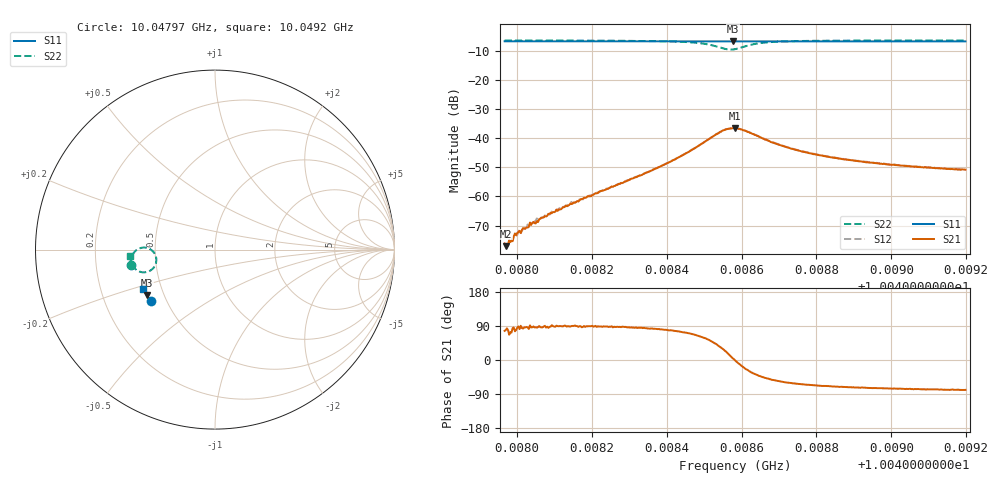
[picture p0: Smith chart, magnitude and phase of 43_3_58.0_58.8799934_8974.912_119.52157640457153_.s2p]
#  HZ  S  RI  R  50.00
! Rohde & Schwarz Vector Network Analyzer
! Rohde-Schwarz,ZNB20-2Port,1311601062101988,3.16
! Created: UTC 3/21/2024, 12:52:11 AM
! freq[Hz]  re:S11  im:S11  re:S21  im:S21  re:S12  im:S12  re:S22  im:S22
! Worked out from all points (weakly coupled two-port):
!   401 points, 10.04797 GHz to 10.0492 GHz, reference 50 ohm
!   highest |S21| = -36.54 dB at 10.04858 GHz (marker M1); lowest = -77.0 dB at 10.04797 GHz (marker M2)
!   lowest |S11| = -6.8 dB at 10.04858 GHz (marker M3), VSWR 2.68, Z = 20.1 - j12.8 ohm
!   |S11| at or under -10 dB: nowhere
!   |S22| runs from -9.6 to -6.5 dB; largest |S21 - S12| = 0.0012
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1.0047967e10  -0.3593 -0.2864  3.54e-05 0.000152  2.3e-05 0.000148  -0.466 -0.0885
1.004797e10  -0.3595 -0.2862  2.69e-05 0.000139  2.24e-05 0.000147  -0.4661 -0.0882
1.0047982e10  -0.36 -0.2855  4.73e-05 0.000158  2.6e-05 0.000164  -0.4663 -0.0869
1.0048001e10  -0.3607 -0.2845  2.02e-05 0.000236  2.02e-05 0.000218  -0.4663 -0.0852
1.0048032e10  -0.362 -0.2829  4.14e-05 0.000298  1.73e-05 0.000317  -0.4666 -0.0825
1.0048041e10  -0.3624 -0.2824  2.21e-05 0.000347  1.44e-05 0.000329  -0.4667 -0.0816
1.0048053e10  -0.3629 -0.2819  3.08e-05 0.000376  -2.12e-05 0.000419  -0.4668 -0.0804
1.004809e10  -0.3643 -0.2798  1.61e-05 0.000523  -5.68e-05 0.000503  -0.4671 -0.0767
1.0048173e10  -0.3676 -0.2753  5.72e-05 0.0009  -4.29e-05 0.000898  -0.4673 -0.0677
1.0048379e10  -0.3754 -0.2637  0.00045 0.00315  0.00029 0.0032  -0.4609 -0.0331
1.0048438e10  -0.3773 -0.2602  0.00132 0.00472  0.00106 0.00482  -0.4506 -0.0152
1.0048524e10  -0.38 -0.2549  0.00735 0.00786  0.00685 0.00825  -0.388 0.011
1.0048555e10  -0.3804 -0.2532  0.0125 0.00582  0.0123 0.0066  -0.3416 -0.0145
1.0048576e10  -0.3807 -0.2526  0.0148 0.00116  0.0147 0.00223  -0.3266 -0.059
1.0048583e10  -0.381 -0.2523  0.0149 -0.000194  0.0147 0.000898  -0.3282 -0.0726
1.0048616e10  -0.3826 -0.2511  0.0114 -0.00564  0.0119 -0.00488  -0.3683 -0.1211
1.0048659e10  -0.3843 -0.249  0.00677 -0.00698  0.00733 -0.00659  -0.4169 -0.1236
1.0048718e10  -0.3867 -0.2456  0.00362 -0.00605  0.00407 -0.00586  -0.4461 -0.106
1.0048789e10  -0.3894 -0.2414  0.00218 -0.00495  0.0025 -0.00487  -0.4594 -0.0885
1.0048887e10  -0.3926 -0.2357  0.00131 -0.00401  0.00158 -0.00397  -0.4665 -0.0716
1.0048995e10  -0.3962 -0.2294  0.000893 -0.00339  0.00111 -0.00339  -0.4702 -0.0579
1.0049198e10  -0.4025 -0.2176  0.000557 -0.00283  0.000694 -0.00278  -0.4731 -0.0381
